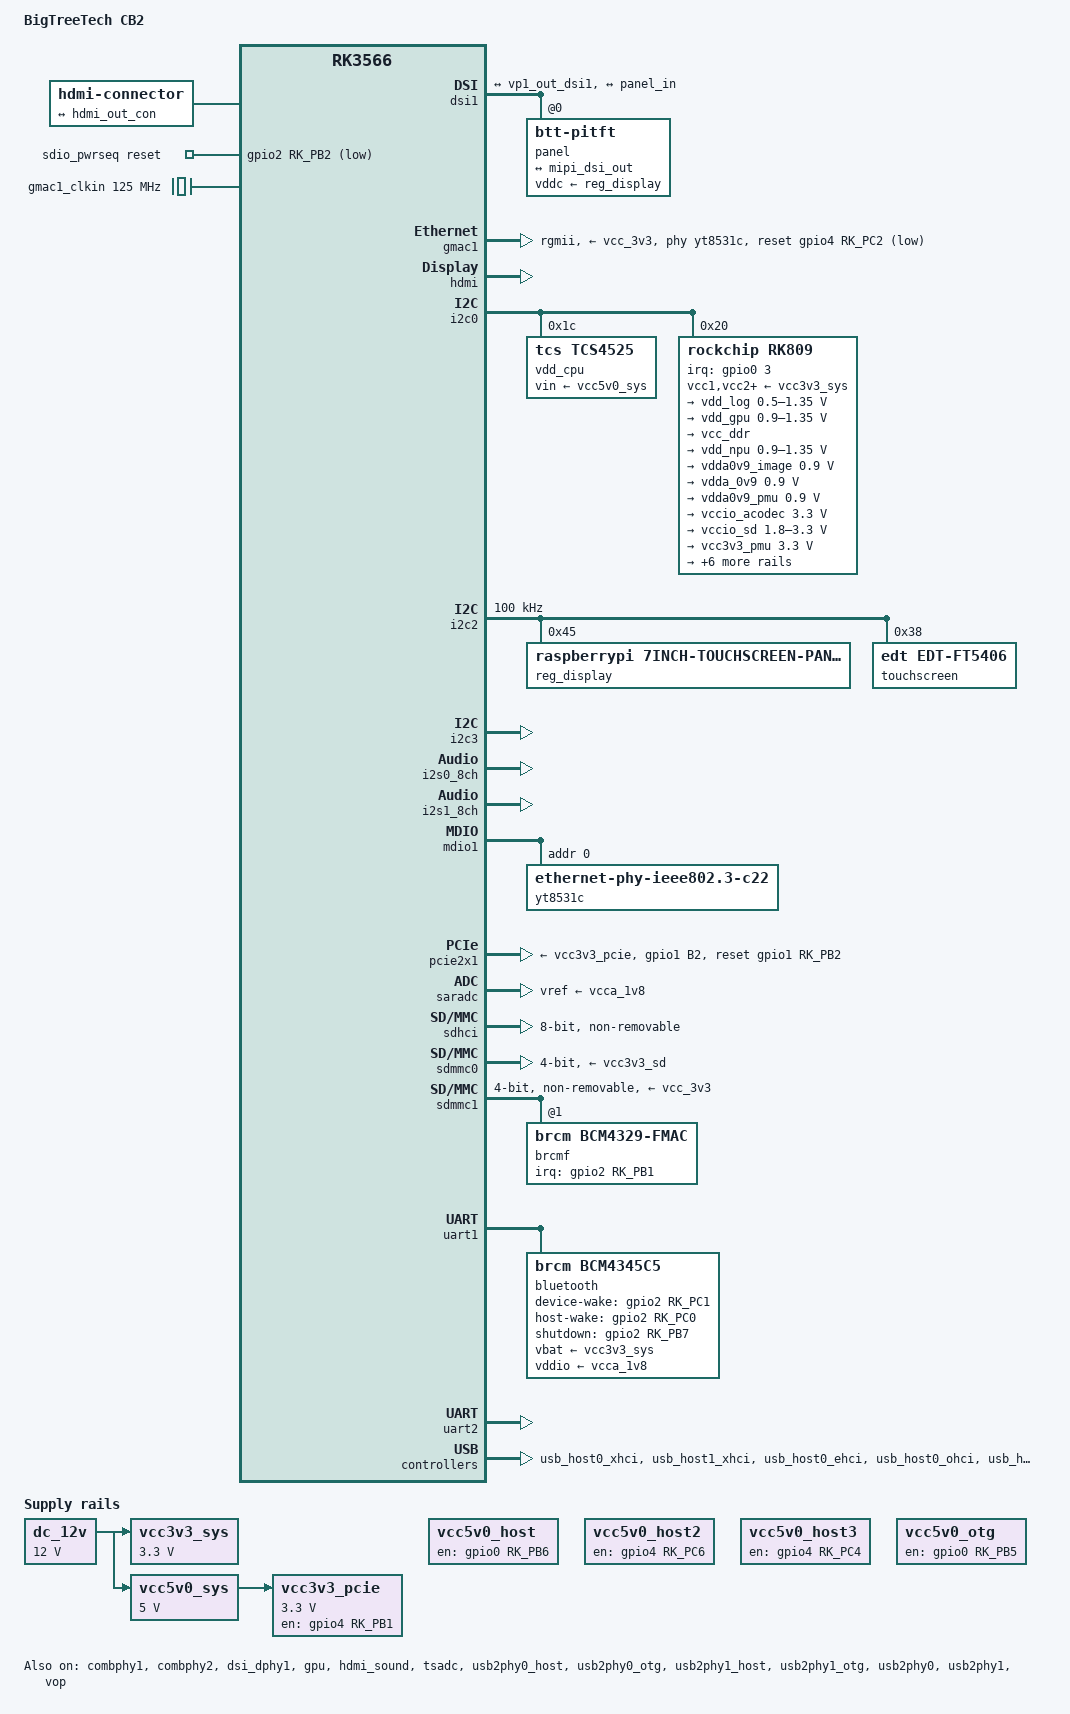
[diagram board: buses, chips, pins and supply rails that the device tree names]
// SPDX-License-Identifier: (GPL-2.0+ OR MIT)
/*
 * Copyright (c) 2023 BigTree Tech Co., LTD
 */

/dts-v1/;

#include <dt-bindings/gpio/gpio.h>
#include <dt-bindings/pinctrl/rockchip.h>
#include <dt-bindings/soc/rockchip,vop2.h>

#include "rk3566.dtsi"

/ {
	model = "BigTreeTech CB2";
	compatible = "bigtreetech,cb2", "rockchip,rk3566";

	aliases {
		serial0 = &uart0;
	};

	chosen {
		stdout-path = "serial0:1500000n8";
	};

	hdmi-con {
		compatible = "hdmi-connector";
		type = "a";

		port {
			hdmi_con_in: endpoint {
				remote-endpoint = <&hdmi_out_con>;
			};
		};
	};

	rk809_sound: rk809-sound {
		status = "okay";
		compatible = "simple-audio-card";
		simple-audio-card,format = "i2s";
		simple-audio-card,name = "rockchip,rk809-codec";
		simple-audio-card,mclk-fs = <256>;
		simple-audio-card,widgets = "Headphones", "Headphones Jack";
		simple-audio-card,routing =
			"Mic Jack", "MICBIAS1",
			"IN1P", "Mic Jack",
			"Headphone Jack", "HPOL",
			"Headphone Jack", "HPOR";
		simple-audio-card,cpu {
			sound-dai = <&i2s1_8ch>;
		};
		simple-audio-card,codec {
			sound-dai = <&rk809>;
		};
	};

	dc_12v: dc-12v {
		compatible = "regulator-fixed";
		regulator-name = "dc_12v";
		regulator-always-on;
		regulator-boot-on;
		regulator-min-microvolt = <12000000>;
		regulator-max-microvolt = <12000000>;
	};

	vcc3v3_sys: vcc3v3-sys {
		compatible = "regulator-fixed";
		regulator-name = "vcc3v3_sys";
		regulator-always-on;
		regulator-boot-on;
		regulator-min-microvolt = <3300000>;
		regulator-max-microvolt = <3300000>;
		vin-supply = <&dc_12v>;
	};

	vcc5v0_sys: vcc5v0-sys {
		compatible = "regulator-fixed";
		regulator-name = "vcc5v0_sys";
		regulator-always-on;
		regulator-boot-on;
		regulator-min-microvolt = <5000000>;
		regulator-max-microvolt = <5000000>;
		vin-supply = <&dc_12v>;
	};

	vcc5v0_host: vcc5v0-host-regulator {
		compatible = "regulator-fixed";
		enable-active-high;
		gpio = <&gpio0 RK_PB6 GPIO_ACTIVE_HIGH>;
		pinctrl-names = "default";
		pinctrl-0 = <&vcc5v0_host_vbus_en>;
		regulator-name = "vcc5v0_host";
		regulator-boot-on;
		regulator-always-on;
		
	};
	
	vcc5v0_host2: vcc5v0-host2-regulator {
		compatible = "regulator-fixed";
		enable-active-high;
		gpio = <&gpio4 RK_PC6 GPIO_ACTIVE_HIGH>;
		pinctrl-names = "default";
		pinctrl-0 = <&vcc5v0_host2_vbus_en>;
		regulator-name = "vcc5v0_host";
		regulator-boot-on;
		regulator-always-on;
		
	};
	
	vcc5v0_host3: vcc5v0-host3-regulator {
		compatible = "regulator-fixed";
		enable-active-high;
		gpio = <&gpio4 RK_PC4 GPIO_ACTIVE_HIGH>;
		pinctrl-names = "default";
		pinctrl-0 = <&vcc5v0_host3_vbus_en>;
		regulator-name = "vcc5v0_host";
		regulator-boot-on;
		regulator-always-on;
		
	};

	vcc5v0_otg: vcc5v0-otg-regulator {
		compatible = "regulator-fixed";
		enable-active-high;
		gpio = <&gpio0 RK_PB5 GPIO_ACTIVE_HIGH>;
		pinctrl-names = "default";
		pinctrl-0 = <&vcc5v0_otg_en>;
		regulator-name = "vcc5v0_otg";
	};

	vcc3v3_pcie: vcc3v3-pcie-regulator {
		compatible = "regulator-fixed";
		enable-active-high;
		gpios = <&gpio4 RK_PB1 GPIO_ACTIVE_HIGH>;
		pinctrl-names = "default";
		pinctrl-0 = <&pcie_enable_h>;
		regulator-name = "vcc3v3_pcie";
		regulator-min-microvolt = <3300000>;
		regulator-max-microvolt = <3300000>;
		vin-supply = <&vcc5v0_sys>;
	};

	sdio_pwrseq: sdio-pwrseq {
		compatible = "mmc-pwrseq-simple";
		clocks = <&rk809 1>;
		clock-names = "ext_clock";
		pinctrl-names = "default";
		pinctrl-0 = <&wifi_enable_h &wifi_32k>;
		reset-gpios = <&gpio2 RK_PB2 GPIO_ACTIVE_LOW>;
	};

	gmac1_clkin: external-gmac1-clock {
		compatible = "fixed-clock";
		clock-frequency = <125000000>;
		clock-output-names = "gmac1_clkin";
		#clock-cells = <0>;
	};
};

&combphy1 {
	status = "okay";
};

&combphy2 {
	status = "okay";
};

&cpu0 {
	cpu-supply = <&vdd_cpu>;
};

&cpu1 {
	cpu-supply = <&vdd_cpu>;
};

&cpu2 {
	cpu-supply = <&vdd_cpu>;
};

&cpu3 {
	cpu-supply = <&vdd_cpu>;
};

&dsi_dphy1 {
	status = "okay";
};

&dsi1 {
	status = "okay";
	#address-cells = <1>;
	#size-cells = <0>;

	panel@0 {
		compatible = "btt-pitft";
		reg = <0x0>;
		status = "okay";
		vddc-supply = <&reg_display>;
		#address-cells = <1>;
		#size-cells = <0>;

		ports {
			#address-cells = <1>;
			#size-cells = <0>;

			port@0 {
				reg = <0>;
				panel_in: endpoint {
					remote-endpoint = <&mipi_dsi_out>;
				};
			};
		};
	};

	ports {
		#address-cells = <1>;
		#size-cells = <0>;
		dsi1_in: port@0 {
			reg = <0>;

			dsi1_in_vp1: endpoint {
				remote-endpoint = <&vp1_out_dsi1>;
			};
		};

		dsi1_out: port@1 {
			reg = <1>;

			mipi_dsi_out: endpoint {
				remote-endpoint = <&panel_in>;
			};
		};
	};
};

&gmac1 {
	assigned-clocks = <&cru SCLK_GMAC1_RX_TX>, <&cru SCLK_GMAC1_RGMII_SPEED>, <&cru SCLK_GMAC1>;
	assigned-clock-parents = <&cru SCLK_GMAC1_RGMII_SPEED>, <&cru SCLK_GMAC1>, <&gmac1_clkin>;
	clock_in_out = "input";
	phy-supply = <&vcc_3v3>;
	phy-mode = "rgmii";
	pinctrl-names = "default";
	pinctrl-0 = <&gmac1m0_miim
		     &gmac1m0_tx_bus2
		     &gmac1m0_rx_bus2
		     &gmac1m0_rgmii_clk
		     &gmac1m0_clkinout
		     &gmac1m0_rgmii_bus>;
	snps,reset-gpio = <&gpio4 RK_PC2 GPIO_ACTIVE_LOW>;
	snps,reset-active-low;
	snps,reset-delays-us = <0 20000 100000>;
	tx_delay = <0x19>;
	rx_delay = <0x05>;
	phy-handle = <&yt8531c>;
	status = "okay";
};

&gpu {
	mali-supply = <&vdd_gpu>;
	status = "okay";
};

&hdmi {
	avdd-0v9-supply = <&vdda0v9_image>;
	avdd-1v8-supply = <&vcca1v8_image>;
	status = "okay";
};

&hdmi_in {
	hdmi_in_vp0: endpoint {
		remote-endpoint = <&vp0_out_hdmi>;
	};
};

&hdmi_out {
	hdmi_out_con: endpoint {
		remote-endpoint = <&hdmi_con_in>;
	};
};

&hdmi_sound {
	status = "okay";
};

&i2c0 {
	status = "okay";

	vdd_cpu: regulator@1c {
		compatible = "tcs,tcs4525";
		reg = <0x1c>;
		fcs,suspend-voltage-selector = <1>;
		regulator-name = "vdd_cpu";
		regulator-always-on;
		regulator-boot-on;
		regulator-min-microvolt = <712500>;
		regulator-max-microvolt = <1390000>;
		regulator-ramp-delay = <2300>;
		vin-supply = <&vcc5v0_sys>;

		regulator-state-mem {
			regulator-off-in-suspend;
		};
	};

	rk809: pmic@20 {
		compatible = "rockchip,rk809";
		reg = <0x20>;
		interrupt-parent = <&gpio0>;
		interrupts = <3 IRQ_TYPE_LEVEL_LOW>;

		pinctrl-names = "default";
		pinctrl-0 = <&pmic_int>, <&i2s1m0_mclk>;

		rockchip,system-power-controller;
		wakeup-source;
		#clock-cells = <1>;
		clock-output-names = "rk808-clkout1", "rk808-clkout2";
		#sound-dai-cells = <0>;

		vcc1-supply = <&vcc3v3_sys>;
		vcc2-supply = <&vcc3v3_sys>;
		vcc3-supply = <&vcc3v3_sys>;
		vcc4-supply = <&vcc3v3_sys>;
		vcc5-supply = <&vcc3v3_sys>;
		vcc6-supply = <&vcc3v3_sys>;
		vcc7-supply = <&vcc3v3_sys>;
		vcc8-supply = <&vcc3v3_sys>;
		vcc9-supply = <&vcc3v3_sys>;

		regulators {
			vdd_log: DCDC_REG1 {
				regulator-always-on;
				regulator-boot-on;
				regulator-min-microvolt = <500000>;
				regulator-max-microvolt = <1350000>;
				regulator-ramp-delay = <6001>;
				regulator-initial-mode = <0x2>;
				regulator-name = "vdd_log";
				regulator-state-mem {
					regulator-off-in-suspend;
				};
			};

			vdd_gpu: DCDC_REG2 {
				regulator-always-on;
				regulator-boot-on;
				regulator-min-microvolt = <900000>;
				regulator-max-microvolt = <1350000>;
				regulator-ramp-delay = <6001>;
				regulator-initial-mode = <0x2>;
				regulator-name = "vdd_gpu";
				regulator-state-mem {
					regulator-off-in-suspend;
				};
			};

			vcc_ddr: DCDC_REG3 {
				regulator-always-on;
				regulator-boot-on;
				regulator-initial-mode = <0x2>;
				regulator-name = "vcc_ddr";
				regulator-state-mem {
					regulator-on-in-suspend;
				};
			};

			vdd_npu: DCDC_REG4 {
				regulator-always-on;
				regulator-boot-on;
				regulator-min-microvolt = <900000>;
				regulator-max-microvolt = <1350000>;
				regulator-ramp-delay = <6001>;
				regulator-initial-mode = <0x2>;
				regulator-name = "vdd_npu";
				regulator-state-mem {
					regulator-off-in-suspend;
				};
			};

			vdda0v9_image: LDO_REG1 {
				regulator-boot-on;
				regulator-always-on;
				regulator-min-microvolt = <900000>;
				regulator-max-microvolt = <900000>;
				regulator-name = "vdda0v9_image";
				regulator-state-mem {
					regulator-off-in-suspend;
				};
			};

			vdda_0v9: LDO_REG2 {
				regulator-always-on;
				regulator-boot-on;
				regulator-min-microvolt = <900000>;
				regulator-max-microvolt = <900000>;
				regulator-name = "vdda_0v9";
				regulator-state-mem {
					regulator-off-in-suspend;
				};
			};

			vdda0v9_pmu: LDO_REG3 {
				regulator-always-on;
				regulator-boot-on;
				regulator-min-microvolt = <900000>;
				regulator-max-microvolt = <900000>;
				regulator-name = "vdda0v9_pmu";
				regulator-state-mem {
					regulator-on-in-suspend;
					regulator-suspend-microvolt = <900000>;
				};
			};

			vccio_acodec: LDO_REG4 {
				regulator-always-on;
				regulator-boot-on;
				regulator-min-microvolt = <3300000>;
				regulator-max-microvolt = <3300000>;
				regulator-name = "vccio_acodec";
				regulator-state-mem {
					regulator-off-in-suspend;
				};
			};

			vccio_sd: LDO_REG5 {
				regulator-always-on;
				regulator-boot-on;
				regulator-min-microvolt = <1800000>;
				regulator-max-microvolt = <3300000>;
				regulator-name = "vccio_sd";
				regulator-state-mem {
					regulator-off-in-suspend;
				};
			};

			vcc3v3_pmu: LDO_REG6 {
				regulator-always-on;
				regulator-boot-on;
				regulator-min-microvolt = <3300000>;
				regulator-max-microvolt = <3300000>;
				regulator-name = "vcc3v3_pmu";
				regulator-state-mem {
					regulator-on-in-suspend;
					regulator-suspend-microvolt = <3300000>;
				};
			};

			vcca_1v8: LDO_REG7 {
				regulator-always-on;
				regulator-boot-on;
				regulator-min-microvolt = <1800000>;
				regulator-max-microvolt = <1800000>;
				regulator-name = "vcca_1v8";
				regulator-state-mem {
					regulator-off-in-suspend;
				};
			};

			vcca1v8_pmu: LDO_REG8 {
				regulator-always-on;
				regulator-boot-on;
				regulator-min-microvolt = <1800000>;
				regulator-max-microvolt = <1800000>;
				regulator-name = "vcca1v8_pmu";
				regulator-state-mem {
					regulator-on-in-suspend;
					regulator-suspend-microvolt = <1800000>;
				};
			};

			vcca1v8_image: LDO_REG9 {
				regulator-always-on;
				regulator-boot-on;
				regulator-min-microvolt = <1800000>;
				regulator-max-microvolt = <1800000>;
				regulator-name = "vcca1v8_image";
				regulator-state-mem {
					regulator-off-in-suspend;
				};
			};

			vcc_1v8: DCDC_REG5 {
				regulator-always-on;
				regulator-boot-on;
				regulator-min-microvolt = <1800000>;
				regulator-max-microvolt = <1800000>;
				regulator-name = "vcc_1v8";
				regulator-state-mem {
					regulator-off-in-suspend;
				};
			};

			vcc_3v3: SWITCH_REG1 {
				regulator-always-on;
				regulator-boot-on;
				regulator-name = "vcc_3v3";
				regulator-state-mem {
					regulator-off-in-suspend;
				};
			};

			vcc3v3_sd: SWITCH_REG2 {
				regulator-always-on;
				regulator-boot-on;
				regulator-name = "vcc3v3_sd";
				regulator-state-mem {
					regulator-off-in-suspend;
				};
			};
		};
	};
};

&i2c2 {
	status = "okay";
	pinctrl-names = "default";
	clock-frequency = <100000>;
	pinctrl-0 = <&i2c2m1_xfer>;
	avdd-1v8-supply = <&vcca1v8_image>;
	avdd-0v9-supply = <&vdda0v9_image>;
	power-domains = <&power RK3568_PD_VI>;
	#address-cells = <1>;
	#size-cells = <0>;

	reg_display: regulator@45 {
		compatible = "raspberrypi,7inch-touchscreen-panel-regulator";
		reg = <0x45>;
	};

	touchscreen@38 {
		compatible = "edt,edt-ft5406";
		reg = <0x38>;

		touchscreen-size-x = <800>;
		touchscreen-size-y = <480>;
		touchscreen-inverted-x;
		touchscreen-inverted-y;
	};
};

&i2c3 {
	pinctrl-names = "default";
	pinctrl-0 = <&i2c3m0_xfer>;
	status = "okay";
};

&i2s0_8ch {
	status = "okay";
};

&i2s1_8ch {
	status = "okay";
	rockchip,clk-trcm = <1>;
	pinctrl-names = "default";
	pinctrl-0 = <&i2s1m0_sclktx
		     &i2s1m0_lrcktx
		     &i2s1m0_sdi0
		     &i2s1m0_sdo0>;
};

&mdio1 {
	yt8531c: ethernet-phy@0 {
		compatible = "ethernet-phy-ieee802.3-c22";
		reg = <0x0>;
	};
};

&pcie2x1 {
	reset-gpios = <&gpio1 RK_PB2 GPIO_ACTIVE_HIGH>;
	pinctrl-names = "default";
	pinctrl-0 = <&pcie_reset_h>;
	vpcie3v3-supply = <&vcc3v3_pcie>;
	status = "okay";
};

&pinctrl {
	bt {
		bt_enable_h: bt-enable-h {
			rockchip,pins = <2 RK_PB7 RK_FUNC_GPIO &pcfg_pull_none>;
		};

		bt_host_wake_l: bt-host-wake-l {
			rockchip,pins = <2 RK_PC0 RK_FUNC_GPIO &pcfg_pull_down>;
		};

		bt_wake_l: bt-wake-l {
			rockchip,pins = <2 RK_PC1 RK_FUNC_GPIO &pcfg_pull_none>;
		};
	};

	pcie {
		pcie_enable_h: pcie-enable-h {
			rockchip,pins = <4 RK_PB1  RK_FUNC_GPIO &pcfg_pull_none>;
		};

		pcie_reset_h: pcie-reset-h {
			rockchip,pins = <1 RK_PB2 RK_FUNC_GPIO &pcfg_pull_none>;
		};
	};

	pmic {
		pmic_int: pmic-int {
			rockchip,pins =
				<0 RK_PA3 RK_FUNC_GPIO &pcfg_pull_up>;
		};
	};

	sdio-pwrseq {
		wifi_enable_h: wifi-enable-h {
			rockchip,pins =<2 RK_PB2 RK_FUNC_GPIO &pcfg_pull_none>;
		};

		wifi_host_wake: wifi-host-wake {
			rockchip,pins = <2 RK_PB1 RK_FUNC_GPIO &pcfg_pull_down>;
		};

		wifi_32k: wifi-32k {
			rockchip,pins = <2 RK_PC6 1 &pcfg_pull_none>;
		};
	};

	usb {
		vcc5v0_otg_en: vcc5v0-otg-en {
			rockchip,pins = <0 RK_PB5 RK_FUNC_GPIO &pcfg_pull_none>;
		};

		vcc5v0_host_vbus_en: vcc5v0-host-en {
			rockchip,pins = <0 RK_PB6 RK_FUNC_GPIO &pcfg_pull_none>;
		};

		vcc5v0_host2_vbus_en: vcc5v0-host2-en {
			rockchip,pins = <4 RK_PC6 RK_FUNC_GPIO &pcfg_pull_none>;
		};

		vcc5v0_host3_vbus_en: vcc5v0-host3-en {
			rockchip,pins = <4 RK_PC4 RK_FUNC_GPIO &pcfg_pull_none>;
		};
	};
};

&pmu_io_domains {
	status = "okay";
	pmuio1-supply = <&vcc3v3_pmu>;
	pmuio2-supply = <&vcc3v3_pmu>;
	vccio1-supply = <&vccio_acodec>;
	vccio3-supply = <&vccio_sd>;
	vccio4-supply = <&vcc_1v8>;
	vccio5-supply = <&vcc_3v3>;
	vccio6-supply = <&vcc_1v8>;
	vccio7-supply = <&vcc_3v3>;
};

&saradc {
	vref-supply = <&vcca_1v8>;
	status = "okay";
};

&sdhci {
	bus-width = <8>;
	supports-emmc;
	non-removable;
	max-frequency = <200000000>;
	status = "okay";
};

&sdmmc0 {
	max-frequency = <150000000>;
	supports-sd;
	bus-width = <4>;
	cap-mmc-highspeed;
	cap-sd-highspeed;
	disable-wp;
	sd-uhs-sdr104;
	vmmc-supply = <&vcc3v3_sd>;
	vqmmc-supply = <&vccio_sd>;
	pinctrl-names = "default";
	pinctrl-0 = <&sdmmc0_bus4 &sdmmc0_clk &sdmmc0_cmd &sdmmc0_det>;
	status = "okay";
};

&sdmmc1 {
	/* WiFi & BT combo module AMPAK AP6256 */
	#address-cells = <1>;
	#size-cells = <0>;
	bus-width = <4>;
	clock-frequency = <150000000>;
	cap-sdio-irq;
	cap-sd-highspeed;
	sd-uhs-sdr104;
	keep-power-in-suspend;
	mmc-pwrseq = <&sdio_pwrseq>;
	non-removable;
	pinctrl-names = "default";
	pinctrl-0 = <&sdmmc1_bus4 &sdmmc1_cmd &sdmmc1_clk>;
	vmmc-supply = <&vcc_3v3>;
	vqmmc-supply = <&vcca_1v8>;
	status = "okay";

	brcmf: wifi@1 {
		compatible = "brcm,bcm4329-fmac";
		reg = <1>;
		interrupt-parent = <&gpio2>;
		interrupts = <RK_PB1 IRQ_TYPE_LEVEL_HIGH>;
		interrupt-names = "host-wake";
		pinctrl-names = "default";
		pinctrl-0 = <&wifi_host_wake>;
	};
};

&tsadc {
	status = "okay";
};

&uart1 {
	pinctrl-names = "default";
	pinctrl-0 = <&uart1m0_xfer &uart1m0_ctsn &uart1m0_rtsn>;
	uart-has-rtscts;
	status = "okay";

	bluetooth {
		compatible = "brcm,bcm4345c5";
		clocks = <&rk809 1>;
		clock-names = "lpo";
		device-wake-gpios = <&gpio2 RK_PC1 GPIO_ACTIVE_HIGH>;
		host-wake-gpios = <&gpio2 RK_PC0 GPIO_ACTIVE_HIGH>;
		shutdown-gpios = <&gpio2 RK_PB7 GPIO_ACTIVE_HIGH>;
		pinctrl-names = "default";
		pinctrl-0 = <&bt_host_wake_l &bt_wake_l &bt_enable_h>;
		vbat-supply = <&vcc3v3_sys>;
		vddio-supply = <&vcca_1v8>;
	};
};

&uart2 {
	status = "okay";
};

&usb2phy0_host {
	phy-supply = <&vcc5v0_host>;
	status = "okay";
};

&usb2phy0_otg {
	phy-supply = <&vcc5v0_otg>;
	status = "okay";
};

&usb2phy1_host {
	phy-supply = <&vcc5v0_host2>;
	status = "okay";
};

&usb2phy1_otg {
	phy-supply = <&vcc5v0_host3>;
	status = "okay";
};

&usb2phy0 {
	status = "okay";
};

&usb2phy1 {
	status = "okay";
};

&usb_host0_xhci {
	status = "okay";
};

&usb_host1_xhci {
	status = "okay";
};

&usb_host0_ehci {
	status = "okay";
};

&usb_host0_ohci {
	status = "okay";
};

&usb_host1_ehci {
	status = "okay";
};

&usb_host1_ohci {
	status = "okay";
};

&vop {
	status = "okay";
	assigned-clocks = <&cru DCLK_VOP0>, <&cru DCLK_VOP1>;
	assigned-clock-parents = <&pmucru PLL_HPLL>, <&cru PLL_VPLL>;
	disable-win-move;

};

&vop_mmu {
	status = "okay";
};

&vp0 {
	vp0_out_hdmi: endpoint@ROCKCHIP_VOP2_EP_HDMI0 {
		reg = <ROCKCHIP_VOP2_EP_HDMI0>;
		remote-endpoint = <&hdmi_in_vp0>;
	};
};

&vp1 {
	vp1_out_dsi1: endpoint@ROCKCHIP_VOP2_EP_MIPI1 {
		reg = <ROCKCHIP_VOP2_EP_MIPI1>;
		remote-endpoint = <&dsi1_in_vp1>;
	};
};
